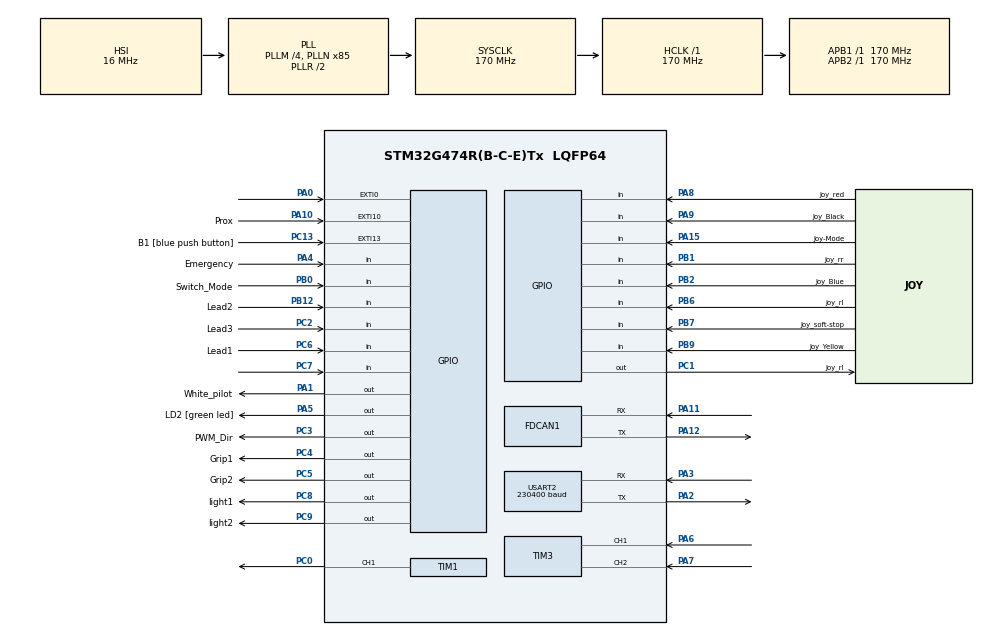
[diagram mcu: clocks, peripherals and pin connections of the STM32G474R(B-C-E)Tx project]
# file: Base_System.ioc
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ARM.CMSIS.5.7.0.CMSISJjCORE=true
ARM.CMSIS.5.7.0.CMSISJjDSP=Library
Dma.Request0=USART2_TX
Dma.Request1=USART2_RX
Dma.USART2_RX.1.Direction=DMA_PERIPH_TO_MEMORY
Dma.USART2_RX.1.EventEnable=DISABLE
Dma.USART2_RX.1.Instance=DMA1_Channel2
Dma.USART2_RX.1.MemDataAlignment=DMA_MDATAALIGN_BYTE
Dma.USART2_RX.1.MemInc=DMA_MINC_ENABLE
Dma.USART2_RX.1.Mode=DMA_NORMAL
Dma.USART2_RX.1.PeriphDataAlignment=DMA_PDATAALIGN_BYTE
Dma.USART2_RX.1.PeriphInc=DMA_PINC_DISABLE
Dma.USART2_RX.1.Polarity=HAL_DMAMUX_REQ_GEN_RISING
Dma.USART2_RX.1.Priority=DMA_PRIORITY_LOW
Dma.USART2_RX.1.RequestNumber=1
Dma.USART2_RX.1.SignalID=NONE
Dma.USART2_RX.1.SyncEnable=DISABLE
Dma.USART2_RX.1.SyncPolarity=HAL_DMAMUX_SYNC_NO_EVENT
Dma.USART2_RX.1.SyncRequestNumber=1
Dma.USART2_RX.1.SyncSignalID=NONE
Dma.USART2_TX.0.Direction=DMA_MEMORY_TO_PERIPH
Dma.USART2_TX.0.EventEnable=DISABLE
Dma.USART2_TX.0.Instance=DMA1_Channel1
Dma.USART2_TX.0.MemDataAlignment=DMA_MDATAALIGN_BYTE
Dma.USART2_TX.0.MemInc=DMA_MINC_ENABLE
Dma.USART2_TX.0.Mode=DMA_NORMAL
Dma.USART2_TX.0.PeriphDataAlignment=DMA_PDATAALIGN_BYTE
Dma.USART2_TX.0.PeriphInc=DMA_PINC_DISABLE
Dma.USART2_TX.0.Polarity=HAL_DMAMUX_REQ_GEN_RISING
Dma.USART2_TX.0.Priority=DMA_PRIORITY_LOW
Dma.USART2_TX.0.RequestNumber=1
Dma.USART2_TX.0.SignalID=NONE
Dma.USART2_TX.0.SyncEnable=DISABLE
Dma.USART2_TX.0.SyncPolarity=HAL_DMAMUX_SYNC_NO_EVENT
Dma.USART2_TX.0.SyncRequestNumber=1
Dma.USART2_TX.0.SyncSignalID=NONE
FDCAN1.CalculateBaudRateNominal=500000
FDCAN1.CalculateTimeBitNominal=2000
FDCAN1.CalculateTimeQuantumNominal=100.0
FDCAN1.NominalPrescaler=17
FDCAN1.NominalTimeSeg1=15
FDCAN1.NominalTimeSeg2=4
Mcu.Family=STM32G4
Mcu.Name=STM32G474R(B-C-E)Tx
Mcu.Package=LQFP64
NVIC.DMA1_Channel1_IRQn=true\:0\:0\:false\:false\:true\:false\:true\:true
NVIC.DMA1_Channel2_IRQn=true\:0\:0\:false\:false\:true\:false\:true\:true
NVIC.EXTI0_IRQn=true\:0\:0\:false\:false\:true\:true\:true\:true
NVIC.EXTI15_10_IRQn=true\:0\:0\:false\:false\:true\:true\:true\:true
NVIC.PriorityGroup=NVIC_PRIORITYGROUP_4
NVIC.TIM1_UP_TIM16_IRQn=true\:0\:0\:false\:false\:true\:true\:true\:true
NVIC.TIM20_UP_IRQn=true\:0\:0\:false\:false\:true\:true\:true\:true
NVIC.USART2_IRQn=true\:0\:0\:false\:false\:true\:true\:true\:true
PA0.GPIO_ModeDefaultEXTI=GPIO_MODE_IT_RISING
PA0.GPIO_PuPd=GPIO_PULLUP
PA0.Signal=GPXTI0
PA1.GPIO_Label=White_pilot
PA1.Signal=GPIO_Output
PA10.GPIO_Label=Prox
PA10.Signal=GPXTI10
PA11.Mode=FDCAN_Activate
PA11.Signal=FDCAN1_RX
PA12.Mode=FDCAN_Activate
PA12.Signal=FDCAN1_TX
PA13.GPIO_Label=T_SWDIO
PA13.Signal=SYS_JTMS-SWDIO
PA14.GPIO_Label=T_SWCLK
PA14.Signal=SYS_JTCK-SWCLK
PA15.GPIO_Label=Joy-Mode
PA15.GPIO_PuPd=GPIO_PULLUP
PA15.Signal=GPIO_Input
PA2.Mode=Asynchronous
PA2.Signal=USART2_TX
PA3.Mode=Asynchronous
PA3.Signal=USART2_RX
PA4.GPIO_Label=Emergency
PA4.GPIO_PuPd=GPIO_PULLUP
PA4.Signal=GPIO_Input
PA5.GPIO_Label=LD2 [green led]
PA5.Signal=GPIO_Output
PA6.Signal=S_TIM3_CH1
PA7.Signal=S_TIM3_CH2
PA8.GPIO_Label=Joy_red
PA8.GPIO_PuPd=GPIO_PULLUP
PA8.Signal=GPIO_Input
PA9.GPIO_Label=Joy_Black
PA9.GPIO_PuPd=GPIO_PULLUP
PA9.Signal=GPIO_Input
PB0.GPIO_Label=Switch_Mode
PB0.GPIO_PuPd=GPIO_PULLUP
PB0.Signal=GPIO_Input
PB1.GPIO_Label=Joy_rr
PB1.GPIO_PuPd=GPIO_PULLUP
PB1.Signal=GPIO_Input
PB12.GPIO_Label=Lead2
PB12.GPIO_PuPd=GPIO_PULLUP
PB12.Signal=GPIO_Input
PB2.GPIO_Label=Joy_Blue
PB2.GPIO_PuPd=GPIO_PULLUP
PB2.Signal=GPIO_Input
PB3.GPIO_Label=T_SWO
PB3.Signal=SYS_JTDO-SWO
PB6.GPIO_Label=Joy_rl
PB6.GPIO_PuPd=GPIO_PULLUP
PB6.Signal=GPIO_Input
PB7.GPIO_Label=Joy_soft-stop
PB7.GPIO_PuPd=GPIO_PULLUP
PB7.Signal=GPIO_Input
PB9.GPIO_Label=Joy_Yellow
PB9.GPIO_PuPd=GPIO_PULLUP
PB9.Signal=GPIO_Input
PC0.Signal=S_TIM1_CH1
PC1.GPIO_Label=Joy_rl
PC1.GPIO_PuPd=GPIO_PULLUP
PC1.Signal=GPIO_Output
PC13.GPIO_Label=B1 [blue push button]
PC13.Signal=GPXTI13
PC14-OSC32_IN.GPIO_Label=RCC_OSC32_IN
PC14-OSC32_IN.Signal=RCC_OSC32_IN
PC15-OSC32_OUT.GPIO_Label=RCC_OSC32_OUT
PC15-OSC32_OUT.Signal=RCC_OSC32_OUT
PC2.GPIO_Label=Lead3
PC2.GPIO_PuPd=GPIO_PULLUP
PC2.Signal=GPIO_Input
PC3.GPIO_Label=PWM_Dir
PC3.Signal=GPIO_Output
PC4.GPIO_Label=Grip1
PC4.Signal=GPIO_Output
PC5.GPIO_Label=Grip2
PC5.Signal=GPIO_Output
PC6.GPIO_Label=Lead1
PC6.GPIO_PuPd=GPIO_PULLUP
PC6.Signal=GPIO_Input
PC7.GPIO_PuPd=GPIO_NOPULL
PC7.Signal=GPIO_Input
PC8.GPIO_Label=light1
PC8.Signal=GPIO_Output
PC9.GPIO_Label=light2
PC9.Signal=GPIO_Output
PF0-OSC_IN.GPIO_Label=RCC_OSC_IN
PF0-OSC_IN.Signal=RCC_OSC_IN
PF1-OSC_OUT.GPIO_Label=RCC_OSC_OUT
PF1-OSC_OUT.Signal=RCC_OSC_OUT
ProjectManager.HeapSize=0x200
ProjectManager.StackSize=0x400
ProjectManager.TargetToolchain=STM32CubeIDE
RCC.ADC12Freq_Value=170000000
RCC.ADC345Freq_Value=170000000
RCC.AHBFreq_Value=170000000
RCC.APB1Freq_Value=170000000
RCC.APB1TimFreq_Value=170000000
RCC.APB2Freq_Value=170000000
RCC.APB2TimFreq_Value=170000000
RCC.CortexFreq_Value=170000000
RCC.EXTERNAL_CLOCK_VALUE=12288000
RCC.HCLKFreq_Value=170000000
RCC.HSE_VALUE=24000000
RCC.HSI48_VALUE=48000000
RCC.HSI_VALUE=16000000
RCC.LSE_VALUE=32768
RCC.PLLM=RCC_PLLM_DIV4
RCC.PLLN=85
RCC.RTCClockSelection=RCC_RTCCLKSOURCE_LSE
RCC.SYSCLKFreq_VALUE=170000000
RCC.SYSCLKSource=RCC_SYSCLKSOURCE_PLLCLK
RCC.USBFreq_Value=170000000
RCC.VCOOutputFreq_Value=340000000
SH.S_TIM1_CH1.0=TIM1_CH1,PWM Generation1 CH1
SH.S_TIM3_CH1.0=TIM3_CH1,Encoder_Interface
SH.S_TIM3_CH2.0=TIM3_CH2,Encoder_Interface
TIM1.Channel-PWM\ Generation1\ CH1=TIM_CHANNEL_1
TIM1.PeriodNoDither=42500
TIM1.Prescaler=1
TIM16.Channel=TIM_CHANNEL_1
TIM16.PeriodNoDither=1145
TIM16.Prescaler=169
TIM2.Prescaler=169
TIM20.PeriodNoDither=499
TIM20.Prescaler=169
TIM3.EncoderMode=TIM_ENCODERMODE_TI12
USART2.BaudRate=230400
USART2.Parity=PARITY_EVEN
USART2.VirtualMode-Asynchronous=VM_ASYNC
USART2.WordLength=WORDLENGTH_9B
VP_ARM.CMSIS_VS_CMSISJjCORE_5.4.0_5.7.0.Mode=CMSISJjCORE
VP_ARM.CMSIS_VS_CMSISJjDSP_1.8.0_5.7.0.Mode=CMSISJjDSP
VP_SYS_VS_DBSignals.Mode=DisableDeadBatterySignals
VP_TIM16_VS_ClockSourceINT.Mode=Enable_Timer
VP_TIM16_VS_OPM.Mode=OPM_bit
VP_TIM16_VS_no_output1.Mode=Output Compare1 No Output
VP_TIM1_VS_ClockSourceINT.Mode=Internal
VP_TIM20_VS_ClockSourceINT.Mode=Internal
VP_TIM2_VS_ClockSourceINT.Mode=Internal
board=NUCLEO-G474RE

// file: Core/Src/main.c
/* USER CODE BEGIN Header */
/**
  ******************************************************************************
  * @file           : main.c
  * @brief          : Main program body
  ******************************************************************************
  * @attention
  *
  * Copyright (c) 2026 STMicroelectronics.
  * All rights reserved.
  *
  * This software is licensed under terms that can be found in the LICENSE file
  * in the root directory of this software component.
  * If no LICENSE file comes with this software, it is provided AS-IS.
  *
  ******************************************************************************
  */
/* USER CODE END Header */
#include "main.h"
#include "dma.h"
#include "fdcan.h"
#include "tim.h"
#include "usart.h"
#include "gpio.h"

/* USER CODE BEGIN Includes */
#include "BaseSystem.h"
#include "kalman.h"
#include "trajectory.h"
#include "cascade.h"
#include "system_state.h"
#include "elec_cabient.h"
#include "robot_process.h"
#include "gripper_can.h"   /* CAN gripper driver — active when GRIPPER_USE_CAN=1 */
#include <stdlib.h>
/* USER CODE END Includes */

/* USER CODE BEGIN PD */

#define DEBUG_MODE 0   /* 0 = normal, 1 = trajectory-tuning: P2P auto-fires gripper on arrival */

//Inner Loop ---------  (synced from LAB3 lab_config.h)
#define Kp_inner 10.0f
#define Ki_inner 25.0f
#define Kd_inner 0.0f
//Outer Loop ---------  (synced from LAB3 lab_config.h)
#define Kp_outer 3.5f
#define Ki_outer 2.0f
#define Kd_outer 0.0f

/* ---- Robot geometry / sequencing constants ---- */
#define HOLE_COUNT          72      /* 360 / 5 = 72 holes around the disc   */
#define GRIPPER_TIMEOUT_MS  5000U   /* max wait for a gripper pick/place    */

/* ---- Default trajectory timing (seconds) ---- */

/* Trajectory profile IDs, P2P_TUNE_*, and TRAJ_* defines live in robot_process.h */

#define static_friction_ff   0.70f   /* synced from LAB3 CFG_FRICTION_STATIC  */
#define dynamic_friction_ff  0.50f   /* synced from LAB3 CFG_FRICTION_DYNAMIC */
#define friction_velo_thresh 0.08f   /* rad/s — synced from LAB3 FRICTION_VELO_THRESH */
#define friction_pos_thresh  0.0087f /* rad (~0.5 deg) */

/* USER CODE END PD */

/* USER CODE BEGIN PV */
/* ---- OVERALL MEMMORY ----*/
SYSTEM_STATE         sys_state;
/* ---- Hardware objects ---- */
Cascade            Controller;
PID                Inner;
PID                Outer;
KALMAN_Multi_Model_Params Kalman;
Feedforward        ff;
FrictionFF         friction;
Encoder            encoder;
Proximity            ref_pos;
Joystick             robot_joy;
Pilot_ramp           robot_ramp;
/* ---- Trajectory manager (owns all planners, state, profile) ---- */
TrajManager traj_mgr;

/* ---- Emergency ---- */
uint8_t   emergency_latch = 0;   /* 1 = emergency was triggered, waiting for release */

/* ---- Pick-place sequence state (SeqState now in robot_process.h) ---- */
SeqState seq = {0};

/* ---- Test mode state (TestState now in robot_process.h) ---- */
TestState test = {0};

/* ---- Joystick button edge-detection (JoyEdges now in robot_process.h) ---- */
JoyEdges joy_prev = {0};

/* ---- Joystick gripper action flags (mode 1) ---- */
uint8_t joy_picking  = 0;   /* 1 = Gripper_Pick running  */
uint8_t joy_placing  = 0;   /* 1 = Gripper_Place running */
uint8_t p2p_grip_pending = 0; /* DEBUG_MODE 1: P2P move armed to fire gripper on arrival */

/* ---- Color button 2s hold → go to robot reference ---- */
uint32_t color_hold_start = 0;

/* ---- Gripper ---- */
Gripper   robot_gripper = {0};

/* ---- Motor ---- */
MOTOR_PARAMS my_motor = {
   .kt  = 2.2461f,
   .km  = 2.2461f,
   .J   = 8.6701E-1f,
   .B   = 0.4308f,
   .R   = 0.4821323156f,
   .L   = 0.0002893301219f,
   .tau      = 0.05f,    /* legacy (unused now that ref/dist are split) */
   .tau_ref  = 0.01f,    /* reference FF: small/fast -> low lag */
   .tau_dist = 0.01f     /* disturbance FF: synced from LAB3 CFG_TAU_DIST */
};
float32_t f32_buffer[10];
float32_t vout;
float32_t hold_ki_outer = Ki_outer;     /* outer ki — writable via debugger to match lab.Ki_out  */
float32_t vin_kalman  = 0.0f;   /* PID + ref_FF only — fed to Kalman, no dist_FF/friction */
int moving;
float32_t actual_vin = 0.0f;   /* pre-friction vin for reference logging */
float32_t friction_feedforward = 0.0f;
int prox;
int reed1;
int reed2;
int reed3;
/* USER CODE END PV */

void SystemClock_Config(void);
/* USER CODE BEGIN PFP */
void Robot_State_Process(void);
void Robot_Period_Control_Loop();
/* USER CODE END PFP */

int main(void)
{

  /* MCU Configuration--------------------------------------------------------*/

  /* Reset of all peripherals, Initializes the Flash interface and the Systick. */

HAL_Init();

  /* Configure the system clock */
  SystemClock_Config();

  /* Initialize all configured peripherals */
  MX_GPIO_Init();
  MX_DMA_Init();
  MX_TIM16_Init();
  MX_USART2_UART_Init();
  MX_FDCAN1_Init();
  MX_TIM1_Init();
  MX_TIM3_Init();
  MX_TIM20_Init();
  MX_TIM2_Init();
  /* USER CODE BEGIN 2 */
  // 1. Start Hardware Timers
    HAL_TIM_Base_Start(&htim2);
    HAL_TIM_Encoder_Start(&htim3, TIM_CHANNEL_ALL);
    HAL_TIM_PWM_Start(&htim1, TIM_CHANNEL_1);
    PWM(0.0f, 0.0f);   /* ensure motor is off before any init completes */
    HAL_TIM_RegisterCallback(&htim20, HAL_TIM_PERIOD_ELAPSED_CB_ID, Robot_Period_Control_Loop);
    /* TIM20 (control loop ISR) started AFTER homing completes */
    // 2. Initialize Encoder Pointers
    SYSTEM_STATE_Encoder_Init(&htim2, &htim3, &encoder);
    TrajManager_Init(&traj_mgr, &htim2);
    // 3. Setup initial state machine defaults
    sys_state.cur_state = STATE_WAITING_COMMAND; /* set to HOMING below after TRAJ_Start */
    sys_state.trust     = Trust_Basesystem;
    sys_state.home_pos  = 0.0f;
  hmodbus.huart = &huart2; // เปลี่ยนเป็น huart ของคุณ (เช่น huart1 หรือ huart2)
  hmodbus.htim = &htim16;
  hmodbus.slaveAddress = 0x15;
  hmodbus.RegisterSize = BASE_SYSTEM_REG_COUNT;

  Modbus_init(&hmodbus, registerFrame);

  /* ---- CAN Gripper Init (active only when GRIPPER_USE_CAN == 1) ---- */
#if (GRIPPER_USE_CAN == 1)
  Gripper_CAN_Init();   /* configures filters, enables RX IRQ, starts FDCAN, sends first heartbeat */
#endif

  __HAL_TIM_SET_COUNTER(&htim3, 30000);

  /* ====================================================================
   * 4. ACTIVATE ALGORITHM INITIALIZATIONS HERE
   * ==================================================================== */
  KALMAN_Multi_Model_Init(&Kalman, 5.33e-11f, 5.00e-12f, 3e-8f, &my_motor);
  CASCADE_Controller_Init(Kp_inner, Ki_inner, Kd_inner, &Inner, -10.5f, 10.5f, 0.0005f);
  CASCADE_Controller_Init(Kp_outer, Ki_outer, Kd_outer, &Outer, -4.0f, 4.0f, 0.002f);
  CASCADE_Cascade_Start(&Controller, &Inner, &Outer, &ff, &my_motor, &Kalman);
  CASCADE_Friction_Init(&friction, static_friction_ff, dynamic_friction_ff,
                        friction_velo_thresh, friction_pos_thresh);

  /* TrajManager_Init already pre-armed all planners and set Complete=1 */

  /* Homing uses proximity sensor state machine.
   * ISR (TIM20) stays off until homing is complete. */
  ref_pos.flag_ready      = 0;
  ref_pos.state_detection = 0;
  ref_pos.proximity_flag  = 0;
  sys_state.cur_state     = STATE_HOMING;

  /* USER CODE END 2 */

  /* Infinite loop */
  while (1)
  {

    /* USER CODE BEGIN 3 */
	  Gripper_ReadState(&robot_gripper);       /* GPIO path: reads pins. CAN path: no-op (updated by IRQ). */
#if (GRIPPER_USE_CAN == 1)
	  Gripper_CAN_Tick(&robot_gripper);        /* heartbeat every 500 ms + opto poll every 200 ms */
#endif
	  if(DEBUG_MODE == 0 || DEBUG_MODE == 1){
	      Modbus_Protocal_Worker();
	      Robot_State_Process();

	      /* Update position derived values relative to home */
	      sys_state.cur_pos_degree = SYSTEM_STATE_convert_rad2degree(sys_state.cur_pos);
	      sys_state.cur_hole_index = (int16_t)roundf(sys_state.cur_pos_degree / DEG_PER_HOLE) % HOLE_COUNT;
	      if (sys_state.cur_hole_index < 0)
	          sys_state.cur_hole_index += HOLE_COUNT;

	      /* Motion feedback: position [deg] = ACTUAL encoder position (relative to BS home),
	       * velocity [rad/s], acceleration [rad/s²] */
	      BaseSystem_SendMotionStatus(
	          SYSTEM_STATE_convert_rad2degree(encoder.encoder_rad - sys_state.basesystem_home_pos),
	          Kalman.X[1],
	          Kalman.accel_estimate);

	      /* Task bits (reg 0x27) — match README bit map:
	       *   0x0001=Homing  0x0008=Go Point  0x0000=Idle */
	      uint16_t cur_task = 0;
	      if      (sys_state.cur_state == STATE_HOMING) cur_task = 0x0001;
	      else if (traj_mgr.running)                         cur_task = 0x0008;
	      else                                           cur_task = 0x0000;

	      /* Emergency = soft-stop active */
	      bool is_emergency = (robot_joy.soft_stop == 1) ||
	                          (BaseCmd.Soft_Stop_Req && sys_state.trust == Trust_Basesystem);
	      BaseSystem_SendRobotTask(cur_task, is_emergency);

	      /* Gripper status reporting mode:
	       *   0 = command mode  — read from output command variables in struct (default)
	       *   1 = reed switch   — read from physical sensors (is_full_open, is_full_close, is_up)
	       *                       NOTE: reed switch mode is pre-code, not yet verified */
	      #define GRIPPER_STATUS_MODE  0   /* 0 = command mode (default), 1 = reed switch */

	      bool grip_up, grip_down, grip_closed;

	      #if (GRIPPER_STATUS_MODE == 0)
	          /* Mode 0: derive status from output command state */
	          grip_up     = robot_gripper.grip_up;
	          grip_down   = !robot_gripper.grip_up;
	          grip_closed = robot_gripper.grip_open;

	      #else
	          /* Mode 1: read physical reed switch sensors (pre-code — verify wiring/polarity) */
	          Gripper_ReadState(&robot_gripper);   /* update sensor fields from GPIO */
	          grip_up     = robot_gripper.is_up;
	          grip_down   = !robot_gripper.is_up;
	          grip_closed = robot_gripper.is_full_close;
	          /* Note: is_full_open available as robot_gripper.is_full_open if needed */
	      #endif

	      BaseSystem_SendSensorStatus(grip_up, grip_down, grip_closed);
	    }

  }
  /* USER CODE END 3 */
}

void SystemClock_Config(void)
{
  RCC_OscInitTypeDef RCC_OscInitStruct = {0};
  RCC_ClkInitTypeDef RCC_ClkInitStruct = {0};

  /** Configure the main internal regulator output voltage
  */
  HAL_PWREx_ControlVoltageScaling(PWR_REGULATOR_VOLTAGE_SCALE1_BOOST);

  /** Initializes the RCC Oscillators according to the specified parameters
  * in the RCC_OscInitTypeDef structure.
  */
  RCC_OscInitStruct.OscillatorType = RCC_OSCILLATORTYPE_HSI;
  RCC_OscInitStruct.HSIState = RCC_HSI_ON;
  RCC_OscInitStruct.HSICalibrationValue = RCC_HSICALIBRATION_DEFAULT;
  RCC_OscInitStruct.PLL.PLLState = RCC_PLL_ON;
  RCC_OscInitStruct.PLL.PLLSource = RCC_PLLSOURCE_HSI;
  RCC_OscInitStruct.PLL.PLLM = RCC_PLLM_DIV4;
  RCC_OscInitStruct.PLL.PLLN = 85;
  RCC_OscInitStruct.PLL.PLLP = RCC_PLLP_DIV2;
  RCC_OscInitStruct.PLL.PLLQ = RCC_PLLQ_DIV2;
  RCC_OscInitStruct.PLL.PLLR = RCC_PLLR_DIV2;
  if (HAL_RCC_OscConfig(&RCC_OscInitStruct) != HAL_OK)
  {
    Error_Handler();
  }

  /** Initializes the CPU, AHB and APB buses clocks
  */
  RCC_ClkInitStruct.ClockType = RCC_CLOCKTYPE_HCLK|RCC_CLOCKTYPE_SYSCLK
                              |RCC_CLOCKTYPE_PCLK1|RCC_CLOCKTYPE_PCLK2;
  RCC_ClkInitStruct.SYSCLKSource = RCC_SYSCLKSOURCE_PLLCLK;
  RCC_ClkInitStruct.AHBCLKDivider = RCC_SYSCLK_DIV1;
  RCC_ClkInitStruct.APB1CLKDivider = RCC_HCLK_DIV1;
  RCC_ClkInitStruct.APB2CLKDivider = RCC_HCLK_DIV1;

  if (HAL_RCC_ClockConfig(&RCC_ClkInitStruct, FLASH_LATENCY_4) != HAL_OK)
  {
    Error_Handler();
  }
}

/* USER CODE BEGIN 4 */

/* =========================================================================
 * HAL_FDCAN_RxFifo0MsgPendingCallback — CAN RX interrupt
 * Forwards incoming frames to the gripper CAN driver.
 * Active only when GRIPPER_USE_CAN == 1; zero overhead otherwise.
 * ========================================================================= */
#if (GRIPPER_USE_CAN == 1)
void HAL_FDCAN_RxFifo0MsgPendingCallback(FDCAN_HandleTypeDef *hfdcan)
{
    FDCAN_RxHeaderTypeDef rxHeader;
    uint8_t rxData[8];
    if (HAL_FDCAN_GetRxMessage(hfdcan, FDCAN_RX_FIFO0, &rxHeader, rxData) == HAL_OK)
        Gripper_CAN_ProcessRx(&robot_gripper, &rxHeader, rxData);
}
#endif

/* =========================================================================
 * TRAJ_Start  — plan and arm a trajectory from current position
 *
 * Call this from Robot_State_Process (main loop, not ISR).
 * Sets traj_mgr.running = 1 and resets traj_elapsed.
 * Profile is chosen by traj_profile global.
 *
 *   f32_buffer[6]  = target position (rad)        — always used
 *   f32_buffer[7]  = param1 (v_max or t_total)    — profile dependent
 *   f32_buffer[8]  = param2 (accel_time or a_max) — Trapezoid / S-Curve
 *   f32_buffer[9]  = param3 (j_max)               — S-Curve only
 * ========================================================================= */
/* Robot_State_Process, its helpers, and TRAJ_Plan now live in robot_process.c */

/* =========================================================================
 * HAL_GPIO_EXTI_Callback
 * ========================================================================= */
void HAL_GPIO_EXTI_Callback(uint16_t GPIO_Pin)
{
    if (GPIO_Pin == GPIO_PIN_0)   /* home/prox sensor moved to PA0 (EXTI0) */
    {
        uint16_t captured_counts = (uint16_t)__HAL_TIM_GET_COUNTER(encoder.htim_encoder);
        if (ref_pos.proximity_flag == 0)
        {
                ref_pos.instant_detect = captured_counts;
            ref_pos.proximity_flag = 1;
        }
    }
}

/* USER CODE BEGIN 4 */

/* =========================================================================
 * Hold position constants
 * ========================================================================= */
#define HOLD_POS_DEADZONE_DEG   0.12f     /* outer PID killed, integrals bleed */
#define HOLD_INTEGRAL_DECAY     0.95f     /* integral bleed factor per tick    */
#define HOLD_DISTURBANCE_SCALE  1.0f      /* dist_FF runtime multiplier — tune live via debugger */

/* =========================================================================
 * Robot_HoldPosition — cascade hold at sys_state.cur_pos
 *
 * Called every tick while traj_mgr.running == 0.
 * Writes vin_kalman, vout, friction_feedforward.
 *
 * Dead-zone logic:
 *   |err| > 0.12°  outer position PID active
 *   |err| ≤ 0.12°  outer PID = 0, integrals bleed ×0.95, dist_FF decays ×0.9
 * ========================================================================= */
static void Robot_HoldPosition(void)
{
    Controller.traj_running = 0;

    float32_t err_deg = fabsf((sys_state.cur_pos - Kalman.X[0]) * 57.295f);

    /* ---- Outer position PID — decimated to match CASCADE_Compute (every 4 ticks) ---- */
    Controller.loop_counter++;
    if (Controller.loop_counter >= 4)   /* 4 = OUTER_DECIMATE in cascade.c */
    {
        Controller.loop_counter = 0;
        if (err_deg > HOLD_POS_DEADZONE_DEG)
        {
            Outer.ki = hold_ki_outer;
            CASCADE_Controller_Compute_Position(&Outer, sys_state.cur_pos, encoder.encoder_rad);
        }
        else
        {
            Outer.out = 0.0f;
        }
    }
    /* Integral bleed runs every tick regardless of decimation */
    if (err_deg <= HOLD_POS_DEADZONE_DEG)
    {
        Outer.integral *= HOLD_INTEGRAL_DECAY;
        Inner.integral *= HOLD_INTEGRAL_DECAY;
    }

    /* ---- Inner velocity PID (every tick) ---- */
    CASCADE_Controller_Compute_Velocity(&Inner, Outer.out, Kalman.X[1]);

    /* ---- Reference FF — fed with velocity command (Outer.out ≈ 0 at rest) ---- */
    Controller.velo_setpoint = Outer.out;
    CASCADE_Ref_Compute(&Controller);

    /* ---- Disturbance FF — disturbance_state already set by CASCADE_Update ---- */
    CASCADE_Disturbance_Compute(&Controller);

    /* ---- Disturbance scale: decay Kalman X[2] and FF state when settled ---- */
    if (err_deg < 0.1f)
    {
        Kalman.X[2] *= 0.9f;   /* same as CASCADE_Compute internal scale */
        Controller.feedforward->disturbance_value *= 0.9f;
        Controller.feedforward->dist_y_prev       *= 0.9f;
        Controller.feedforward->dist_u_prev       *= 0.9f;
    }

    /* ---- Disturbance scale (tune HOLD_DISTURBANCE_SCALE or hold_ki_outer live) ---- */
    Controller.feedforward->disturbance_value *= HOLD_DISTURBANCE_SCALE;

    /* ---- Clamp dist_FF to ±5 V (same limit as CASCADE_Compute) ---- */
    if      (Controller.feedforward->disturbance_value >  5.0f) Controller.feedforward->disturbance_value =  5.0f;
    else if (Controller.feedforward->disturbance_value < -5.0f) Controller.feedforward->disturbance_value = -5.0f;

    vin_kalman = Inner.out;
    vout       = vin_kalman + Controller.feedforward->disturbance_value;
    friction_feedforward = CASCADE_Friction_Compute(
        &friction, Kalman.X[1], sys_state.cur_pos - encoder.encoder_rad);

    if      (vout >  0.8f) {vout =  0.8f;vin_kalman = 0.8f;}
        else if (vout < -0.8f) {vout =  -0.8f;vin_kalman = -0.8f;}
}

/* =========================================================================
 * Robot_Period_Control_Loop — TIM20 ISR, 2 kHz
 * ========================================================================= */
void Robot_Period_Control_Loop(TIM_HandleTypeDef *htim)
{
    (void)htim;

    /* 1. Read encoder */
    SYSTEM_STATE_Encoder_Compute(&encoder);

    /* 2. Kalman — feed PID + ref_FF only (dist_FF and friction bypass observer) */
    KALMAN_Multi_Model_Compute(&Kalman, encoder.encoder_rad, vin_kalman);

    /* 3. Sync Kalman states into cascade struct — pos_state = raw encoder (matches LAB3) */
    CASCADE_Update(&Controller,
                   encoder.encoder_rad,
                   Kalman.X[1],
                   Kalman.X[3],
                   Kalman.X[2],
                   encoder.encoder_rad);

    if (traj_mgr.running)
    {
        /* ---- TRAJECTORY PHASE ---- */
        Traj_State_t ref = TrajManager_Step(&traj_mgr);

        Controller.traj_running = 1;
        CASCADE_Compute(&Controller, ref.pos, ref.velo);

        friction_feedforward = CASCADE_Friction_Compute(
            &friction, Kalman.X[1], ref.pos - Kalman.X[0]);

        vin_kalman = Inner.out + Controller.feedforward->reference_value;
        vout       = vin_kalman + Controller.feedforward->disturbance_value;
    }
    else
    {
        /* ---- HOLD POSITION PHASE ---- */
        Robot_HoldPosition();
    }

    moving     = friction.moving;
    actual_vin = vin_kalman;

    PWM(vout, friction_feedforward);
}

/* USER CODE END 4 */

void Error_Handler(void)
{
  __disable_irq();
  while (1)
  {
  }
}
